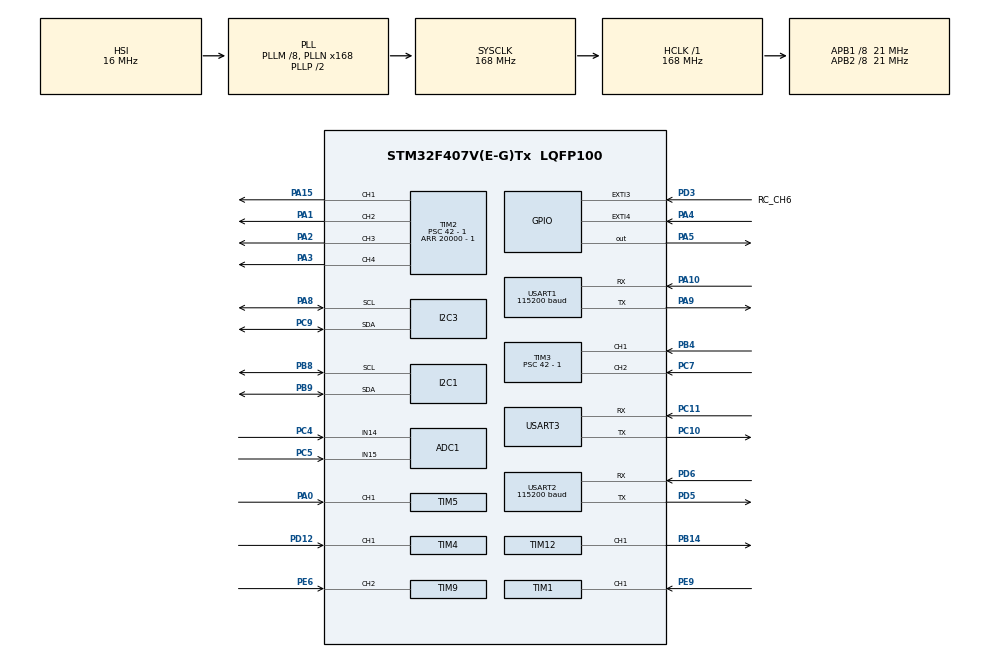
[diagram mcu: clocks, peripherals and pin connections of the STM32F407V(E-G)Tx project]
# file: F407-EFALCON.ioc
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ADC1.Channel-0\#ChannelRegularConversion=ADC_CHANNEL_14
ADC1.Channel-1\#ChannelRegularConversion=ADC_CHANNEL_15
ADC1.ClockPrescaler=ADC_CLOCK_SYNC_PCLK_DIV8
ADC1.ContinuousConvMode=ENABLE
ADC1.DMAContinuousRequests=ENABLE
ADC1.EOCSelection=ADC_EOC_SEQ_CONV
ADC1.NbrOfConversion=2
ADC1.NbrOfConversionFlag=1
ADC1.Rank-0\#ChannelRegularConversion=1
ADC1.Rank-1\#ChannelRegularConversion=2
ADC1.SamplingTime-0\#ChannelRegularConversion=ADC_SAMPLETIME_480CYCLES
ADC1.SamplingTime-1\#ChannelRegularConversion=ADC_SAMPLETIME_480CYCLES
ADC1.master=1
Dma.ADC1.3.Direction=DMA_PERIPH_TO_MEMORY
Dma.ADC1.3.FIFOMode=DMA_FIFOMODE_DISABLE
Dma.ADC1.3.Instance=DMA2_Stream4
Dma.ADC1.3.MemDataAlignment=DMA_MDATAALIGN_HALFWORD
Dma.ADC1.3.MemInc=DMA_MINC_ENABLE
Dma.ADC1.3.Mode=DMA_CIRCULAR
Dma.ADC1.3.PeriphDataAlignment=DMA_PDATAALIGN_HALFWORD
Dma.ADC1.3.PeriphInc=DMA_PINC_DISABLE
Dma.ADC1.3.Priority=DMA_PRIORITY_LOW
Dma.Request0=USART2_RX
Dma.Request1=USART3_RX
Dma.Request2=USART1_RX
Dma.Request3=ADC1
Dma.USART1_RX.2.Direction=DMA_PERIPH_TO_MEMORY
Dma.USART1_RX.2.FIFOMode=DMA_FIFOMODE_DISABLE
Dma.USART1_RX.2.Instance=DMA2_Stream2
Dma.USART1_RX.2.MemDataAlignment=DMA_MDATAALIGN_BYTE
Dma.USART1_RX.2.MemInc=DMA_MINC_ENABLE
Dma.USART1_RX.2.Mode=DMA_CIRCULAR
Dma.USART1_RX.2.PeriphDataAlignment=DMA_PDATAALIGN_BYTE
Dma.USART1_RX.2.PeriphInc=DMA_PINC_DISABLE
Dma.USART1_RX.2.Priority=DMA_PRIORITY_HIGH
Dma.USART2_RX.0.Direction=DMA_PERIPH_TO_MEMORY
Dma.USART2_RX.0.FIFOMode=DMA_FIFOMODE_DISABLE
Dma.USART2_RX.0.Instance=DMA1_Stream5
Dma.USART2_RX.0.MemDataAlignment=DMA_MDATAALIGN_BYTE
Dma.USART2_RX.0.MemInc=DMA_MINC_ENABLE
Dma.USART2_RX.0.Mode=DMA_CIRCULAR
Dma.USART2_RX.0.PeriphDataAlignment=DMA_PDATAALIGN_BYTE
Dma.USART2_RX.0.PeriphInc=DMA_PINC_DISABLE
Dma.USART2_RX.0.Priority=DMA_PRIORITY_HIGH
Dma.USART3_RX.1.Direction=DMA_PERIPH_TO_MEMORY
Dma.USART3_RX.1.FIFOMode=DMA_FIFOMODE_DISABLE
Dma.USART3_RX.1.Instance=DMA1_Stream1
Dma.USART3_RX.1.MemDataAlignment=DMA_MDATAALIGN_BYTE
Dma.USART3_RX.1.MemInc=DMA_MINC_ENABLE
Dma.USART3_RX.1.Mode=DMA_CIRCULAR
Dma.USART3_RX.1.PeriphDataAlignment=DMA_PDATAALIGN_BYTE
Dma.USART3_RX.1.PeriphInc=DMA_PINC_DISABLE
Dma.USART3_RX.1.Priority=DMA_PRIORITY_HIGH
Mcu.Family=STM32F4
Mcu.Name=STM32F407V(E-G)Tx
Mcu.Package=LQFP100
NVIC.DMA1_Stream1_IRQn=true\:0\:0\:false\:false\:true\:false\:true
NVIC.DMA1_Stream5_IRQn=true\:0\:0\:false\:false\:true\:false\:true
NVIC.DMA2_Stream2_IRQn=true\:0\:0\:false\:false\:true\:false\:true
NVIC.DMA2_Stream4_IRQn=true\:0\:0\:false\:false\:true\:false\:true
NVIC.EXTI3_IRQn=true\:0\:0\:false\:false\:true\:true\:true
NVIC.PriorityGroup=NVIC_PRIORITYGROUP_4
NVIC.TIM1_BRK_TIM9_IRQn=true\:0\:0\:false\:false\:true\:true\:true
NVIC.TIM1_CC_IRQn=true\:0\:0\:false\:false\:true\:true\:true
NVIC.TIM1_UP_TIM10_IRQn=true\:2\:0\:true\:false\:true\:true\:true
NVIC.TIM2_IRQn=true\:0\:0\:false\:false\:true\:true\:true
NVIC.TIM3_IRQn=true\:0\:0\:false\:false\:true\:true\:true
NVIC.TIM4_IRQn=true\:0\:0\:false\:false\:true\:true\:true
NVIC.TIM5_IRQn=true\:0\:0\:true\:false\:true\:true\:true
NVIC.TIM7_IRQn=true\:1\:0\:true\:false\:true\:true\:true
PA0-WKUP.GPIO_PuPd=GPIO_NOPULL
PA0-WKUP.Signal=S_TIM5_CH1
PA1.GPIO_PuPd=GPIO_NOPULL
PA1.Signal=S_TIM2_CH2
PA10.GPIO_PuPd=GPIO_PULLUP
PA10.Mode=Asynchronous
PA10.Signal=USART1_RX
PA13.Mode=Serial_Wire
PA13.Signal=SYS_JTMS-SWDIO
PA14.Mode=Serial_Wire
PA14.Signal=SYS_JTCK-SWCLK
PA15.GPIO_PuPd=GPIO_NOPULL
PA15.Signal=S_TIM2_CH1_ETR
PA2.GPIO_PuPd=GPIO_NOPULL
PA2.Signal=S_TIM2_CH3
PA3.GPIO_PuPd=GPIO_NOPULL
PA3.Signal=S_TIM2_CH4
PA4.Signal=GPXTI4
PA5.Signal=GPIO_Output
PA8.Mode=I2C
PA8.Signal=I2C3_SCL
PA9.Mode=Asynchronous
PA9.Signal=USART1_TX
PB14.Signal=S_TIM12_CH1
PB4.GPIO_PuPd=GPIO_NOPULL
PB4.Signal=S_TIM3_CH1
PB8.Mode=I2C
PB8.Signal=I2C1_SCL
PB9.Mode=I2C
PB9.Signal=I2C1_SDA
PC10.Mode=Asynchronous
PC10.Signal=USART3_TX
PC11.Mode=Asynchronous
PC11.Signal=USART3_RX
PC4.Signal=ADCx_IN14
PC5.Signal=ADCx_IN15
PC7.GPIO_PuPd=GPIO_NOPULL
PC7.Signal=S_TIM3_CH2
PC9.Mode=I2C
PC9.Signal=I2C3_SDA
PD12.GPIO_PuPd=GPIO_NOPULL
PD12.Signal=S_TIM4_CH1
PD3.GPIO_Label=RC_CH6
PD3.GPIO_ModeDefaultEXTI=GPIO_MODE_IT_RISING_FALLING
PD3.GPIO_PuPd=GPIO_PULLDOWN
PD3.Signal=GPXTI3
PD5.Mode=Asynchronous
PD5.Signal=USART2_TX
PD6.GPIO_PuPd=GPIO_PULLUP
PD6.Mode=Asynchronous
PD6.Signal=USART2_RX
PE6.GPIO_PuPd=GPIO_NOPULL
PE6.Signal=S_TIM9_CH2
PE9.Signal=S_TIM1_CH1
PH0-OSC_IN.Mode=HSE-External-Oscillator
PH0-OSC_IN.Signal=RCC_OSC_IN
PH1-OSC_OUT.Mode=HSE-External-Oscillator
PH1-OSC_OUT.Signal=RCC_OSC_OUT
ProjectManager.HeapSize=0x200
ProjectManager.StackSize=0x400
ProjectManager.TargetToolchain=STM32CubeIDE
RCC.48MHZClocksFreq_Value=84000000
RCC.AHBFreq_Value=168000000
RCC.APB1CLKDivider=RCC_HCLK_DIV8
RCC.APB1Freq_Value=21000000
RCC.APB1TimFreq_Value=42000000
RCC.APB2CLKDivider=RCC_HCLK_DIV8
RCC.APB2Freq_Value=21000000
RCC.APB2TimFreq_Value=42000000
RCC.CortexFreq_Value=168000000
RCC.HCLKFreq_Value=168000000
RCC.HSE_VALUE=16000000
RCC.HSI_VALUE=16000000
RCC.LSE_VALUE=32768
RCC.PLLM=8
RCC.PLLN=168
RCC.SYSCLKFreq_VALUE=168000000
RCC.SYSCLKSource=RCC_SYSCLKSOURCE_PLLCLK
RCC.VCOOutputFreq_Value=336000000
SH.ADCx_IN14.0=ADC1_IN14,IN14
SH.ADCx_IN15.0=ADC1_IN15,IN15
SH.S_TIM12_CH1.0=TIM12_CH1,PWM Generation1 CH1
SH.S_TIM1_CH1.0=TIM1_CH1,Input_Capture1_from_TI1
SH.S_TIM2_CH1_ETR.0=TIM2_CH1,PWM Generation1 CH1
SH.S_TIM2_CH2.0=TIM2_CH2,PWM Generation2 CH2
SH.S_TIM2_CH3.0=TIM2_CH3,PWM Generation3 CH3
SH.S_TIM2_CH4.0=TIM2_CH4,PWM Generation4 CH4
SH.S_TIM3_CH1.0=TIM3_CH1,Input_Capture1_from_TI1
SH.S_TIM3_CH2.0=TIM3_CH2,Input_Capture2_from_TI2
SH.S_TIM4_CH1.0=TIM4_CH1,Input_Capture1_from_TI1
SH.S_TIM5_CH1.0=TIM5_CH1,Input_Capture1_from_TI1
SH.S_TIM9_CH2.0=TIM9_CH2,Input_Capture2_from_TI2
TIM1.Channel-Input_Capture1_from_TI1=TIM_CHANNEL_1
TIM1.Period=0xffff
TIM1.Prescaler=42 - 1
TIM10.Period=15 - 1
TIM10.Prescaler=42000 - 1
TIM12.Channel-PWM\ Generation1\ CH1=TIM_CHANNEL_1
TIM12.Period=1000-1
TIM12.Prescaler=42-1
TIM12.Pulse-PWM\ Generation1\ CH1=7000
TIM2.Channel-PWM\ Generation1\ CH1=TIM_CHANNEL_1
TIM2.Channel-PWM\ Generation2\ CH2=TIM_CHANNEL_2
TIM2.Channel-PWM\ Generation3\ CH3=TIM_CHANNEL_3
TIM2.Channel-PWM\ Generation4\ CH4=TIM_CHANNEL_4
TIM2.Period=20000 - 1
TIM2.Prescaler=42 - 1
TIM2.Pulse-PWM\ Generation1\ CH1=2000 - 1
TIM2.Pulse-PWM\ Generation2\ CH2=2000 - 1
TIM2.Pulse-PWM\ Generation4\ CH4=2000 - 1
TIM3.AutoReloadPreload=TIM_AUTORELOAD_PRELOAD_DISABLE
TIM3.Channel-Input_Capture1_from_TI1=TIM_CHANNEL_1
TIM3.Channel-Input_Capture2_from_TI2=TIM_CHANNEL_2
TIM3.Period=0xFFFF
TIM3.Prescaler=42 - 1
TIM4.Channel-Input_Capture1_from_TI1=TIM_CHANNEL_1
TIM4.Period=0xFFFF
TIM4.Prescaler=42 - 1
TIM5.Channel-Input_Capture1_from_TI1=TIM_CHANNEL_1
TIM5.Period=0xFFFF
TIM5.Prescaler=42 - 1
TIM6.Period=0xFFFF
TIM6.Prescaler=42 - 1
TIM7.Period=10
TIM7.Prescaler=42000 - 1
TIM9.Channel-Input_Capture2_from_TI2=TIM_CHANNEL_2
TIM9.Period=0xFFFF
TIM9.Prescaler=42 - 1
USART1.BaudRate=115200
USART1.VirtualMode=VM_ASYNC
USART2.BaudRate=115200
USART2.VirtualMode=VM_ASYNC
USART3.VirtualMode=VM_ASYNC
VP_TIM10_VS_ClockSourceINT.Mode=Enable_Timer
VP_TIM2_VS_ClockSourceINT.Mode=Internal
VP_TIM3_VS_ClockSourceINT.Mode=Internal
VP_TIM4_VS_ClockSourceINT.Mode=Internal
VP_TIM5_VS_ClockSourceINT.Mode=Internal
VP_TIM6_VS_ClockSourceINT.Mode=Enable_Timer
VP_TIM7_VS_ClockSourceINT.Mode=Enable_Timer
VP_TIM9_VS_ClockSourceINT.Mode=Internal
board=custom

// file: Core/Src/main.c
/* USER CODE BEGIN Header */
/**
  ******************************************************************************
  * @file           : main.c
  * @brief          : Main program body
  ******************************************************************************
  * @attention
  *
  * <h2><center>&copy; Copyright (c) 2020 STMicroelectronics.
  * All rights reserved.</center></h2>
  *
  * This software component is licensed by ST under BSD 3-Clause license,
  * the "License"; You may not use this file except in compliance with the
  * License. You may obtain a copy of the License at:
  *                        opensource.org/licenses/BSD-3-Clause
  *
  ******************************************************************************
  */
/* USER CODE END Header */
#include "main.h"

/* USER CODE BEGIN Includes */
#include <string.h>
#include <stdio.h>
#include <stdlib.h>
#include <stdbool.h>

#include "bmp280.h"
#include "Kalman.h"
#include "HMC5883L.h"
#include "pid.h"
#include "I2Cdev.h"
/* USER CODE END Includes */

/* USER CODE BEGIN PD */
#define ESC_PWM_MIN 1000
#define ESC_PWM_MAX 2000
/* USER CODE END PD */

ADC_HandleTypeDef hadc1;
DMA_HandleTypeDef hdma_adc1;

I2C_HandleTypeDef hi2c1;
I2C_HandleTypeDef hi2c3;

TIM_HandleTypeDef htim1;
TIM_HandleTypeDef htim2;
TIM_HandleTypeDef htim3;
TIM_HandleTypeDef htim4;
TIM_HandleTypeDef htim5;
TIM_HandleTypeDef htim6;
TIM_HandleTypeDef htim7;
TIM_HandleTypeDef htim9;
TIM_HandleTypeDef htim10;
TIM_HandleTypeDef htim12;

UART_HandleTypeDef huart1;
UART_HandleTypeDef huart2;
UART_HandleTypeDef huart3;
DMA_HandleTypeDef hdma_usart1_rx;
DMA_HandleTypeDef hdma_usart2_rx;
DMA_HandleTypeDef hdma_usart3_rx;

/* USER CODE BEGIN PV */
/*---bmp280----*/
BMP280_HandleTypedef bmp280;
uint8_t buffer[200];
uint16_t strSize;
uint8_t IMUBuffer[16];
bool GPSDataStatus;
bool IMUDataStatus;
int dutyCycle = ESC_PWM_MIN;
float pressureRef = 0;
bool bme280p;
bool RisingEdge = 1, FallingEdge = 0;
int16_t x_heading, y_heading, z_heading;
Floating altitude, data_heading;
char latitude[20];
char longitude[20];
Floating baterai_v, baterai_i;
uint16_t batteryData[2];
Integer lon_depan;
Floating lon_belakang, lat_belakang;
char lat_depan;
uint8_t gpsCounter = 0;
uint8_t gps_rx_buf[GPS_BUF_SIZE];
uint8_t GPSBuffer[GPS_BUF_SIZE];

uint32_t w_output[4];
uint8_t SerialData[10];
Kalman_t kalman_altitude;

char lat[20];
char lat_a;
char lon[20];
char lon_a;

PWM_DATA RC_CH1, RC_CH2, RC_CH3, RC_CH4, RC_CH5, RC_CH6;

IMU_DATA IMU_Data;
float pitchRef = 0, yawRef = 0, rollRef = 0;
FLY_MODE fly_mode;

/* USER CODE END PV */

void SystemClock_Config(void);
static void MX_GPIO_Init(void);
static void MX_DMA_Init(void);
static void MX_I2C1_Init(void);
static void MX_USART1_UART_Init(void);
static void MX_USART3_UART_Init(void);
static void MX_USART2_UART_Init(void);
static void MX_TIM3_Init(void);
static void MX_I2C3_Init(void);
static void MX_TIM2_Init(void);
static void MX_TIM4_Init(void);
static void MX_TIM5_Init(void);
static void MX_TIM9_Init(void);
static void MX_TIM7_Init(void);
static void MX_TIM6_Init(void);
static void MX_TIM10_Init(void);
static void MX_TIM1_Init(void);
static void MX_ADC1_Init(void);
static void MX_TIM12_Init(void);
/* USER CODE BEGIN PFP */

void ESCInit();
void initmonitorBAT();
void setPWM(TIM_HandleTypeDef htim, uint32_t channel, uint32_t dutyCycle);
void BMPInit();
void IMUInit();
void GPSInit();
void RemoteInit();
void CompassInit();
void setPWM_DATA(PWM_DATA* pwm_data);
void initPWM_DATA(PWM_DATA* pwm_data, TIM_HandleTypeDef *htim, uint32_t channel);
void getIMUData(IMU_DATA *IMU_Data);
void getGPSLatLon();
void getCompass();
void getBMPAltitude();
/* USER CODE END PFP */

int main(void)
{

  /* MCU Configuration--------------------------------------------------------*/

  /* Reset of all peripherals, Initializes the Flash interface and the Systick. */
  HAL_Init();

  /* Configure the system clock */
  SystemClock_Config();

  /* Initialize all configured peripherals */
  MX_GPIO_Init();
  MX_DMA_Init();
  MX_I2C1_Init();
  MX_USART1_UART_Init();
  MX_USART3_UART_Init();
  MX_USART2_UART_Init();
  MX_TIM3_Init();
  MX_I2C3_Init();
  MX_TIM2_Init();
  MX_TIM4_Init();
  MX_TIM5_Init();
  MX_TIM9_Init();
  MX_TIM7_Init();
  MX_TIM6_Init();
  MX_TIM10_Init();
  MX_TIM1_Init();
  MX_ADC1_Init();
  MX_TIM12_Init();
  /* USER CODE BEGIN 2 */

  /*PIDControl(&PIDRoll, (float)IMU_Data->ROLL, RC_CH2.DutyCycleVal);
  PIDControl(&PIDPitch, (float)IMU_Data->PITCH, RC_CH1.DutyCycleVal);
  PIDControl(&PIDYaw, (float)IMU_Data->YAW, RC_CH4.DutyCycleVal);*/

  //init sensor
  CompassInit();
  BMPInit();
  GPSInit();
  IMUInit();
  initmonitorBAT();

  //Remote init
  RemoteInit();

  //Inisialisasi PID
  //ROLL
  //PIDInit(&PIDRoll, 0.0300, 0.0080, 0.0065, 0.01);//d=0.01 p=0.045 i = 0.4
  //PIDInit(&PIDRoll, 0.0238, 0.0240, 0.0045, 0.01);
  PIDInit(&PIDRoll, 0.01875, 0.00120, 0.00825, 0.01);
  //PITCH
  //PIDInit(&PIDPitch,  0.0156, 0.0100, 0.0056, 0.01); //kp = 1, kd = 1, ki = 0.0040, timesampling = 0.04
  PIDInit(&PIDPitch,  0.026555, 0.01995, 0.00555, 0.01);
  //YAW
  //PIDInit(&PIDYaw, 0.125f, 0.0f, 0.000f, 0.01); //kp = 1, kd = 1, ki = 1, timesampling = 0.04
  PIDInit(&PIDYaw, 0.080, 0.0020, 0.0f, 0.01);
  //Altitude
  PIDInit(&PIDAltitude, 0.09, 0.085, 0.00583, 0.01);
  ESCInit();

  HAL_TIM_Base_Start_IT(&htim10);

  HAL_UART_Receive_DMA(&huart1, SerialData, 10);

  strSize = sprintf((char*)buffer, "Mulai\r\n");
  HAL_UART_Transmit(&huart1, buffer, strSize, 10);
  /* USER CODE END 2 */

  /* Infinite loop */
  /* USER CODE BEGIN WHILE */
  while (1) {
	  if(inputFlyMode >= 1000 && inputFlyMode <= 1050 && fly_mode != FLY_MODE_OFF){
		  HAL_TIM_Base_Stop_IT(&htim7);
		  fly_mode = FLY_MODE_OFF;
		  PIDReset(&PIDRoll);
		  PIDReset(&PIDPitch);
		  PIDReset(&PIDYaw);
		  pulseESC1 = pulseESC2 = pulseESC3 = pulseESC4 = 1000;
		  char a = 0x00;
		  strSize = sprintf((char*)buffer, "M%c#", a);
		  HAL_UART_Transmit(&huart1, buffer, strSize, 10);
	  } else if(inputFlyMode >= 1450 && inputFlyMode <= 1550 && fly_mode != FLY_MODE_ON){
		  fly_mode = FLY_MODE_ON;
		  char b = 0x08;
		  strSize = sprintf((char*)buffer, "M%c#", b);
		  HAL_UART_Transmit(&huart1, buffer, strSize, 10);
		  HAL_TIM_Base_Start_IT(&htim7);
	  } else if(inputFlyMode >= 1900 && inputFlyMode <= 2000 && fly_mode != FLY_MODE_HOLD){
		  fly_mode = FLY_MODE_HOLD;
		  inputAltitude = sensorAltitude.data;
		  holdThrottle = inputThrottle;
		  char c = 0x80;
		  strSize = sprintf((char*)buffer, "M%c#", c);
		  HAL_UART_Transmit(&huart1, buffer, strSize, 10);
	  }
	  getIMUData(&IMU_Data);
    /* USER CODE END WHILE */

  }
}

void SystemClock_Config(void)
{
  RCC_OscInitTypeDef RCC_OscInitStruct = {0};
  RCC_ClkInitTypeDef RCC_ClkInitStruct = {0};

  /** Configure the main internal regulator output voltage
  */
  __HAL_RCC_PWR_CLK_ENABLE();
  __HAL_PWR_VOLTAGESCALING_CONFIG(PWR_REGULATOR_VOLTAGE_SCALE1);
  /** Initializes the RCC Oscillators according to the specified parameters
  * in the RCC_OscInitTypeDef structure.
  */
  RCC_OscInitStruct.OscillatorType = RCC_OSCILLATORTYPE_HSI;
  RCC_OscInitStruct.HSIState = RCC_HSI_ON;
  RCC_OscInitStruct.HSICalibrationValue = RCC_HSICALIBRATION_DEFAULT;
  RCC_OscInitStruct.PLL.PLLState = RCC_PLL_ON;
  RCC_OscInitStruct.PLL.PLLSource = RCC_PLLSOURCE_HSI;
  RCC_OscInitStruct.PLL.PLLM = 8;
  RCC_OscInitStruct.PLL.PLLN = 168;
  RCC_OscInitStruct.PLL.PLLP = RCC_PLLP_DIV2;
  RCC_OscInitStruct.PLL.PLLQ = 4;
  if (HAL_RCC_OscConfig(&RCC_OscInitStruct) != HAL_OK)
  {
    Error_Handler();
  }
  /** Initializes the CPU, AHB and APB buses clocks
  */
  RCC_ClkInitStruct.ClockType = RCC_CLOCKTYPE_HCLK|RCC_CLOCKTYPE_SYSCLK
                              |RCC_CLOCKTYPE_PCLK1|RCC_CLOCKTYPE_PCLK2;
  RCC_ClkInitStruct.SYSCLKSource = RCC_SYSCLKSOURCE_PLLCLK;
  RCC_ClkInitStruct.AHBCLKDivider = RCC_SYSCLK_DIV1;
  RCC_ClkInitStruct.APB1CLKDivider = RCC_HCLK_DIV8;
  RCC_ClkInitStruct.APB2CLKDivider = RCC_HCLK_DIV8;

  if (HAL_RCC_ClockConfig(&RCC_ClkInitStruct, FLASH_LATENCY_5) != HAL_OK)
  {
    Error_Handler();
  }
}

static void MX_ADC1_Init(void)
{

  ADC_ChannelConfTypeDef sConfig = {0};

  /** Configure the global features of the ADC (Clock, Resolution, Data Alignment and number of conversion)
  */
  hadc1.Instance = ADC1;
  hadc1.Init.ClockPrescaler = ADC_CLOCK_SYNC_PCLK_DIV8;
  hadc1.Init.Resolution = ADC_RESOLUTION_12B;
  hadc1.Init.ScanConvMode = ENABLE;
  hadc1.Init.ContinuousConvMode = ENABLE;
  hadc1.Init.DiscontinuousConvMode = DISABLE;
  hadc1.Init.ExternalTrigConvEdge = ADC_EXTERNALTRIGCONVEDGE_NONE;
  hadc1.Init.ExternalTrigConv = ADC_SOFTWARE_START;
  hadc1.Init.DataAlign = ADC_DATAALIGN_RIGHT;
  hadc1.Init.NbrOfConversion = 2;
  hadc1.Init.DMAContinuousRequests = ENABLE;
  hadc1.Init.EOCSelection = ADC_EOC_SEQ_CONV;
  if (HAL_ADC_Init(&hadc1) != HAL_OK)
  {
    Error_Handler();
  }
  /** Configure for the selected ADC regular channel its corresponding rank in the sequencer and its sample time.
  */
  sConfig.Channel = ADC_CHANNEL_14;
  sConfig.Rank = 1;
  sConfig.SamplingTime = ADC_SAMPLETIME_480CYCLES;
  if (HAL_ADC_ConfigChannel(&hadc1, &sConfig) != HAL_OK)
  {
    Error_Handler();
  }
  /** Configure for the selected ADC regular channel its corresponding rank in the sequencer and its sample time.
  */
  sConfig.Channel = ADC_CHANNEL_15;
  sConfig.Rank = 2;
  if (HAL_ADC_ConfigChannel(&hadc1, &sConfig) != HAL_OK)
  {
    Error_Handler();
  }

}

static void MX_I2C1_Init(void)
{

  hi2c1.Instance = I2C1;
  hi2c1.Init.ClockSpeed = 100000;
  hi2c1.Init.DutyCycle = I2C_DUTYCYCLE_2;
  hi2c1.Init.OwnAddress1 = 0;
  hi2c1.Init.AddressingMode = I2C_ADDRESSINGMODE_7BIT;
  hi2c1.Init.DualAddressMode = I2C_DUALADDRESS_DISABLE;
  hi2c1.Init.OwnAddress2 = 0;
  hi2c1.Init.GeneralCallMode = I2C_GENERALCALL_DISABLE;
  hi2c1.Init.NoStretchMode = I2C_NOSTRETCH_DISABLE;
  if (HAL_I2C_Init(&hi2c1) != HAL_OK)
  {
    Error_Handler();
  }

}

static void MX_I2C3_Init(void)
{

  hi2c3.Instance = I2C3;
  hi2c3.Init.ClockSpeed = 100000;
  hi2c3.Init.DutyCycle = I2C_DUTYCYCLE_2;
  hi2c3.Init.OwnAddress1 = 0;
  hi2c3.Init.AddressingMode = I2C_ADDRESSINGMODE_7BIT;
  hi2c3.Init.DualAddressMode = I2C_DUALADDRESS_DISABLE;
  hi2c3.Init.OwnAddress2 = 0;
  hi2c3.Init.GeneralCallMode = I2C_GENERALCALL_DISABLE;
  hi2c3.Init.NoStretchMode = I2C_NOSTRETCH_DISABLE;
  if (HAL_I2C_Init(&hi2c3) != HAL_OK)
  {
    Error_Handler();
  }

}

static void MX_TIM1_Init(void)
{

  TIM_MasterConfigTypeDef sMasterConfig = {0};
  TIM_IC_InitTypeDef sConfigIC = {0};

  htim1.Instance = TIM1;
  htim1.Init.Prescaler = 42 - 1;
  htim1.Init.CounterMode = TIM_COUNTERMODE_UP;
  htim1.Init.Period = 0xffff;
  htim1.Init.ClockDivision = TIM_CLOCKDIVISION_DIV1;
  htim1.Init.RepetitionCounter = 0;
  htim1.Init.AutoReloadPreload = TIM_AUTORELOAD_PRELOAD_DISABLE;
  if (HAL_TIM_IC_Init(&htim1) != HAL_OK)
  {
    Error_Handler();
  }
  sMasterConfig.MasterOutputTrigger = TIM_TRGO_RESET;
  sMasterConfig.MasterSlaveMode = TIM_MASTERSLAVEMODE_DISABLE;
  if (HAL_TIMEx_MasterConfigSynchronization(&htim1, &sMasterConfig) != HAL_OK)
  {
    Error_Handler();
  }
  sConfigIC.ICPolarity = TIM_INPUTCHANNELPOLARITY_RISING;
  sConfigIC.ICSelection = TIM_ICSELECTION_DIRECTTI;
  sConfigIC.ICPrescaler = TIM_ICPSC_DIV1;
  sConfigIC.ICFilter = 0;
  if (HAL_TIM_IC_ConfigChannel(&htim1, &sConfigIC, TIM_CHANNEL_1) != HAL_OK)
  {
    Error_Handler();
  }

}

static void MX_TIM2_Init(void)
{

  TIM_ClockConfigTypeDef sClockSourceConfig = {0};
  TIM_MasterConfigTypeDef sMasterConfig = {0};
  TIM_OC_InitTypeDef sConfigOC = {0};

  htim2.Instance = TIM2;
  htim2.Init.Prescaler = 42 - 1;
  htim2.Init.CounterMode = TIM_COUNTERMODE_UP;
  htim2.Init.Period = 20000 - 1;
  htim2.Init.ClockDivision = TIM_CLOCKDIVISION_DIV1;
  htim2.Init.AutoReloadPreload = TIM_AUTORELOAD_PRELOAD_DISABLE;
  if (HAL_TIM_Base_Init(&htim2) != HAL_OK)
  {
    Error_Handler();
  }
  sClockSourceConfig.ClockSource = TIM_CLOCKSOURCE_INTERNAL;
  if (HAL_TIM_ConfigClockSource(&htim2, &sClockSourceConfig) != HAL_OK)
  {
    Error_Handler();
  }
  if (HAL_TIM_PWM_Init(&htim2) != HAL_OK)
  {
    Error_Handler();
  }
  sMasterConfig.MasterOutputTrigger = TIM_TRGO_RESET;
  sMasterConfig.MasterSlaveMode = TIM_MASTERSLAVEMODE_DISABLE;
  if (HAL_TIMEx_MasterConfigSynchronization(&htim2, &sMasterConfig) != HAL_OK)
  {
    Error_Handler();
  }
  sConfigOC.OCMode = TIM_OCMODE_PWM1;
  sConfigOC.Pulse = 2000 - 1;
  sConfigOC.OCPolarity = TIM_OCPOLARITY_HIGH;
  sConfigOC.OCFastMode = TIM_OCFAST_DISABLE;
  if (HAL_TIM_PWM_ConfigChannel(&htim2, &sConfigOC, TIM_CHANNEL_1) != HAL_OK)
  {
    Error_Handler();
  }
  if (HAL_TIM_PWM_ConfigChannel(&htim2, &sConfigOC, TIM_CHANNEL_2) != HAL_OK)
  {
    Error_Handler();
  }
  sConfigOC.Pulse = 0;
  if (HAL_TIM_PWM_ConfigChannel(&htim2, &sConfigOC, TIM_CHANNEL_3) != HAL_OK)
  {
    Error_Handler();
  }
  sConfigOC.Pulse = 2000 - 1;
  if (HAL_TIM_PWM_ConfigChannel(&htim2, &sConfigOC, TIM_CHANNEL_4) != HAL_OK)
  {
    Error_Handler();
  }
  HAL_TIM_MspPostInit(&htim2);

}

static void MX_TIM3_Init(void)
{

  TIM_ClockConfigTypeDef sClockSourceConfig = {0};
  TIM_MasterConfigTypeDef sMasterConfig = {0};
  TIM_IC_InitTypeDef sConfigIC = {0};

  htim3.Instance = TIM3;
  htim3.Init.Prescaler = 42 - 1;
  htim3.Init.CounterMode = TIM_COUNTERMODE_UP;
  htim3.Init.Period = 0xFFFF;
  htim3.Init.ClockDivision = TIM_CLOCKDIVISION_DIV1;
  htim3.Init.AutoReloadPreload = TIM_AUTORELOAD_PRELOAD_DISABLE;
  if (HAL_TIM_Base_Init(&htim3) != HAL_OK)
  {
    Error_Handler();
  }
  sClockSourceConfig.ClockSource = TIM_CLOCKSOURCE_INTERNAL;
  if (HAL_TIM_ConfigClockSource(&htim3, &sClockSourceConfig) != HAL_OK)
  {
    Error_Handler();
  }
  if (HAL_TIM_IC_Init(&htim3) != HAL_OK)
  {
    Error_Handler();
  }
  sMasterConfig.MasterOutputTrigger = TIM_TRGO_RESET;
  sMasterConfig.MasterSlaveMode = TIM_MASTERSLAVEMODE_DISABLE;
  if (HAL_TIMEx_MasterConfigSynchronization(&htim3, &sMasterConfig) != HAL_OK)
  {
    Error_Handler();
  }
  sConfigIC.ICPolarity = TIM_INPUTCHANNELPOLARITY_RISING;
  sConfigIC.ICSelection = TIM_ICSELECTION_DIRECTTI;
  sConfigIC.ICPrescaler = TIM_ICPSC_DIV1;
  sConfigIC.ICFilter = 0;
  if (HAL_TIM_IC_ConfigChannel(&htim3, &sConfigIC, TIM_CHANNEL_1) != HAL_OK)
  {
    Error_Handler();
  }
  if (HAL_TIM_IC_ConfigChannel(&htim3, &sConfigIC, TIM_CHANNEL_2) != HAL_OK)
  {
    Error_Handler();
  }

}

static void MX_TIM4_Init(void)
{

  TIM_ClockConfigTypeDef sClockSourceConfig = {0};
  TIM_MasterConfigTypeDef sMasterConfig = {0};
  TIM_IC_InitTypeDef sConfigIC = {0};

  htim4.Instance = TIM4;
  htim4.Init.Prescaler = 42 - 1;
  htim4.Init.CounterMode = TIM_COUNTERMODE_UP;
  htim4.Init.Period = 0xFFFF;
  htim4.Init.ClockDivision = TIM_CLOCKDIVISION_DIV1;
  htim4.Init.AutoReloadPreload = TIM_AUTORELOAD_PRELOAD_DISABLE;
  if (HAL_TIM_Base_Init(&htim4) != HAL_OK)
  {
    Error_Handler();
  }
  sClockSourceConfig.ClockSource = TIM_CLOCKSOURCE_INTERNAL;
  if (HAL_TIM_ConfigClockSource(&htim4, &sClockSourceConfig) != HAL_OK)
  {
    Error_Handler();
  }
  if (HAL_TIM_IC_Init(&htim4) != HAL_OK)
  {
    Error_Handler();
  }
  sMasterConfig.MasterOutputTrigger = TIM_TRGO_RESET;
  sMasterConfig.MasterSlaveMode = TIM_MASTERSLAVEMODE_DISABLE;
  if (HAL_TIMEx_MasterConfigSynchronization(&htim4, &sMasterConfig) != HAL_OK)
  {
    Error_Handler();
  }
  sConfigIC.ICPolarity = TIM_INPUTCHANNELPOLARITY_RISING;
  sConfigIC.ICSelection = TIM_ICSELECTION_DIRECTTI;
  sConfigIC.ICPrescaler = TIM_ICPSC_DIV1;
  sConfigIC.ICFilter = 0;
  if (HAL_TIM_IC_ConfigChannel(&htim4, &sConfigIC, TIM_CHANNEL_1) != HAL_OK)
  {
    Error_Handler();
  }

}

static void MX_TIM5_Init(void)
{

  TIM_ClockConfigTypeDef sClockSourceConfig = {0};
  TIM_MasterConfigTypeDef sMasterConfig = {0};
  TIM_IC_InitTypeDef sConfigIC = {0};

  htim5.Instance = TIM5;
  htim5.Init.Prescaler = 42 - 1;
  htim5.Init.CounterMode = TIM_COUNTERMODE_UP;
  htim5.Init.Period = 0xFFFF;
  htim5.Init.ClockDivision = TIM_CLOCKDIVISION_DIV1;
  htim5.Init.AutoReloadPreload = TIM_AUTORELOAD_PRELOAD_DISABLE;
  if (HAL_TIM_Base_Init(&htim5) != HAL_OK)
  {
    Error_Handler();
  }
  sClockSourceConfig.ClockSource = TIM_CLOCKSOURCE_INTERNAL;
  if (HAL_TIM_ConfigClockSource(&htim5, &sClockSourceConfig) != HAL_OK)
  {
    Error_Handler();
  }
  if (HAL_TIM_IC_Init(&htim5) != HAL_OK)
  {
    Error_Handler();
  }
  sMasterConfig.MasterOutputTrigger = TIM_TRGO_RESET;
  sMasterConfig.MasterSlaveMode = TIM_MASTERSLAVEMODE_DISABLE;
  if (HAL_TIMEx_MasterConfigSynchronization(&htim5, &sMasterConfig) != HAL_OK)
  {
    Error_Handler();
  }
  sConfigIC.ICPolarity = TIM_INPUTCHANNELPOLARITY_RISING;
  sConfigIC.ICSelection = TIM_ICSELECTION_DIRECTTI;
  sConfigIC.ICPrescaler = TIM_ICPSC_DIV1;
  sConfigIC.ICFilter = 0;
  if (HAL_TIM_IC_ConfigChannel(&htim5, &sConfigIC, TIM_CHANNEL_1) != HAL_OK)
  {
    Error_Handler();
  }

}

static void MX_TIM6_Init(void)
{

  TIM_MasterConfigTypeDef sMasterConfig = {0};

  htim6.Instance = TIM6;
  htim6.Init.Prescaler = 42 - 1;
  htim6.Init.CounterMode = TIM_COUNTERMODE_UP;
  htim6.Init.Period = 0xFFFF;
  htim6.Init.AutoReloadPreload = TIM_AUTORELOAD_PRELOAD_DISABLE;
  if (HAL_TIM_Base_Init(&htim6) != HAL_OK)
  {
    Error_Handler();
  }
  sMasterConfig.MasterOutputTrigger = TIM_TRGO_RESET;
  sMasterConfig.MasterSlaveMode = TIM_MASTERSLAVEMODE_DISABLE;
  if (HAL_TIMEx_MasterConfigSynchronization(&htim6, &sMasterConfig) != HAL_OK)
  {
    Error_Handler();
  }

}

static void MX_TIM7_Init(void)
{

  TIM_MasterConfigTypeDef sMasterConfig = {0};

  htim7.Instance = TIM7;
  htim7.Init.Prescaler = 42000 - 1;
  htim7.Init.CounterMode = TIM_COUNTERMODE_UP;
  htim7.Init.Period = 10;
  htim7.Init.AutoReloadPreload = TIM_AUTORELOAD_PRELOAD_DISABLE;
  if (HAL_TIM_Base_Init(&htim7) != HAL_OK)
  {
    Error_Handler();
  }
  sMasterConfig.MasterOutputTrigger = TIM_TRGO_RESET;
  sMasterConfig.MasterSlaveMode = TIM_MASTERSLAVEMODE_DISABLE;
  if (HAL_TIMEx_MasterConfigSynchronization(&htim7, &sMasterConfig) != HAL_OK)
  {
    Error_Handler();
  }

}

static void MX_TIM9_Init(void)
{

  TIM_ClockConfigTypeDef sClockSourceConfig = {0};
  TIM_IC_InitTypeDef sConfigIC = {0};

  htim9.Instance = TIM9;
  htim9.Init.Prescaler = 42 - 1;
  htim9.Init.CounterMode = TIM_COUNTERMODE_UP;
  htim9.Init.Period = 0xFFFF;
  htim9.Init.ClockDivision = TIM_CLOCKDIVISION_DIV1;
  htim9.Init.AutoReloadPreload = TIM_AUTORELOAD_PRELOAD_DISABLE;
  if (HAL_TIM_Base_Init(&htim9) != HAL_OK)
  {
    Error_Handler();
  }
  sClockSourceConfig.ClockSource = TIM_CLOCKSOURCE_INTERNAL;
  if (HAL_TIM_ConfigClockSource(&htim9, &sClockSourceConfig) != HAL_OK)
  {
    Error_Handler();
  }
  if (HAL_TIM_IC_Init(&htim9) != HAL_OK)
  {
    Error_Handler();
  }
  sConfigIC.ICPolarity = TIM_INPUTCHANNELPOLARITY_RISING;
  sConfigIC.ICSelection = TIM_ICSELECTION_DIRECTTI;
  sConfigIC.ICPrescaler = TIM_ICPSC_DIV1;
  sConfigIC.ICFilter = 0;
  if (HAL_TIM_IC_ConfigChannel(&htim9, &sConfigIC, TIM_CHANNEL_2) != HAL_OK)
  {
    Error_Handler();
  }

}

static void MX_TIM10_Init(void)
{

  htim10.Instance = TIM10;
  htim10.Init.Prescaler = 42000 - 1;
  htim10.Init.CounterMode = TIM_COUNTERMODE_UP;
  htim10.Init.Period = 15 - 1;
  htim10.Init.ClockDivision = TIM_CLOCKDIVISION_DIV1;
  htim10.Init.AutoReloadPreload = TIM_AUTORELOAD_PRELOAD_DISABLE;
  if (HAL_TIM_Base_Init(&htim10) != HAL_OK)
  {
    Error_Handler();
  }

}

static void MX_TIM12_Init(void)
{

  TIM_OC_InitTypeDef sConfigOC = {0};

  htim12.Instance = TIM12;
  htim12.Init.Prescaler = 42-1;
  htim12.Init.CounterMode = TIM_COUNTERMODE_UP;
  htim12.Init.Period = 1000-1;
  htim12.Init.ClockDivision = TIM_CLOCKDIVISION_DIV1;
  htim12.Init.AutoReloadPreload = TIM_AUTORELOAD_PRELOAD_DISABLE;
  if (HAL_TIM_PWM_Init(&htim12) != HAL_OK)
  {
    Error_Handler();
  }
  sConfigOC.OCMode = TIM_OCMODE_PWM1;
  sConfigOC.Pulse = 7000;
  sConfigOC.OCPolarity = TIM_OCPOLARITY_HIGH;
  sConfigOC.OCFastMode = TIM_OCFAST_DISABLE;
  if (HAL_TIM_PWM_ConfigChannel(&htim12, &sConfigOC, TIM_CHANNEL_1) != HAL_OK)
  {
    Error_Handler();
  }
  HAL_TIM_MspPostInit(&htim12);

}

static void MX_USART1_UART_Init(void)
{

  huart1.Instance = USART1;
  huart1.Init.BaudRate = 115200;
  huart1.Init.WordLength = UART_WORDLENGTH_8B;
  huart1.Init.StopBits = UART_STOPBITS_1;
  huart1.Init.Parity = UART_PARITY_NONE;
  huart1.Init.Mode = UART_MODE_TX_RX;
  huart1.Init.HwFlowCtl = UART_HWCONTROL_NONE;
  huart1.Init.OverSampling = UART_OVERSAMPLING_16;
  if (HAL_UART_Init(&huart1) != HAL_OK)
  {
    Error_Handler();
  }

}

static void MX_USART2_UART_Init(void)
{

  huart2.Instance = USART2;
  huart2.Init.BaudRate = 115200;
  huart2.Init.WordLength = UART_WORDLENGTH_8B;
  huart2.Init.StopBits = UART_STOPBITS_1;
  huart2.Init.Parity = UART_PARITY_NONE;
  huart2.Init.Mode = UART_MODE_TX_RX;
  huart2.Init.HwFlowCtl = UART_HWCONTROL_NONE;
  huart2.Init.OverSampling = UART_OVERSAMPLING_16;
  if (HAL_UART_Init(&huart2) != HAL_OK)
  {
    Error_Handler();
  }

}

static void MX_USART3_UART_Init(void)
{

  huart3.Instance = USART3;
  huart3.Init.BaudRate = 115200;
  huart3.Init.WordLength = UART_WORDLENGTH_8B;
  huart3.Init.StopBits = UART_STOPBITS_1;
  huart3.Init.Parity = UART_PARITY_NONE;
  huart3.Init.Mode = UART_MODE_TX_RX;
  huart3.Init.HwFlowCtl = UART_HWCONTROL_NONE;
  huart3.Init.OverSampling = UART_OVERSAMPLING_16;
  if (HAL_UART_Init(&huart3) != HAL_OK)
  {
    Error_Handler();
  }

}

static void MX_DMA_Init(void)
{

  /* DMA controller clock enable */
  __HAL_RCC_DMA1_CLK_ENABLE();
  __HAL_RCC_DMA2_CLK_ENABLE();

  /* DMA interrupt init */
  /* DMA1_Stream1_IRQn interrupt configuration */
  HAL_NVIC_SetPriority(DMA1_Stream1_IRQn, 0, 0);
  HAL_NVIC_EnableIRQ(DMA1_Stream1_IRQn);
  /* DMA1_Stream5_IRQn interrupt configuration */
  HAL_NVIC_SetPriority(DMA1_Stream5_IRQn, 0, 0);
  HAL_NVIC_EnableIRQ(DMA1_Stream5_IRQn);
  /* DMA2_Stream2_IRQn interrupt configuration */
  HAL_NVIC_SetPriority(DMA2_Stream2_IRQn, 0, 0);
  HAL_NVIC_EnableIRQ(DMA2_Stream2_IRQn);
  /* DMA2_Stream4_IRQn interrupt configuration */
  HAL_NVIC_SetPriority(DMA2_Stream4_IRQn, 0, 0);
  HAL_NVIC_EnableIRQ(DMA2_Stream4_IRQn);

}

static void MX_GPIO_Init(void)
{
  GPIO_InitTypeDef GPIO_InitStruct = {0};

  /* GPIO Ports Clock Enable */
  __HAL_RCC_GPIOE_CLK_ENABLE();
  __HAL_RCC_GPIOH_CLK_ENABLE();
  __HAL_RCC_GPIOA_CLK_ENABLE();
  __HAL_RCC_GPIOC_CLK_ENABLE();
  __HAL_RCC_GPIOB_CLK_ENABLE();
  __HAL_RCC_GPIOD_CLK_ENABLE();

  /*Configure GPIO pin Output Level */
  HAL_GPIO_WritePin(GPIOA, GPIO_PIN_5, GPIO_PIN_RESET);

  /*Configure GPIO pin : PA4 */
  GPIO_InitStruct.Pin = GPIO_PIN_4;
  GPIO_InitStruct.Mode = GPIO_MODE_IT_RISING;
  GPIO_InitStruct.Pull = GPIO_NOPULL;
  HAL_GPIO_Init(GPIOA, &GPIO_InitStruct);

  /*Configure GPIO pin : PA5 */
  GPIO_InitStruct.Pin = GPIO_PIN_5;
  GPIO_InitStruct.Mode = GPIO_MODE_OUTPUT_PP;
  GPIO_InitStruct.Pull = GPIO_NOPULL;
  GPIO_InitStruct.Speed = GPIO_SPEED_FREQ_LOW;
  HAL_GPIO_Init(GPIOA, &GPIO_InitStruct);

  /*Configure GPIO pin : RC_CH6_Pin */
  GPIO_InitStruct.Pin = RC_CH6_Pin;
  GPIO_InitStruct.Mode = GPIO_MODE_IT_RISING_FALLING;
  GPIO_InitStruct.Pull = GPIO_PULLDOWN;
  HAL_GPIO_Init(RC_CH6_GPIO_Port, &GPIO_InitStruct);

  /* EXTI interrupt init*/
  HAL_NVIC_SetPriority(EXTI3_IRQn, 0, 0);
  HAL_NVIC_EnableIRQ(EXTI3_IRQn);

}

/* USER CODE BEGIN 4 */

void initPWM_DATA(PWM_DATA* pwm_data, TIM_HandleTypeDef *htim, uint32_t channel){
	pwm_data->onFallingEdge = false;
	pwm_data->onRisingEdge = true;
	pwm_data->channel = channel;
	pwm_data->htim = htim;
}

void setPWM(TIM_HandleTypeDef htim, uint32_t channel, uint32_t dutyCycle){
	__HAL_TIM_SET_COMPARE(&htim, channel, dutyCycle);
}

void ESCInit(){
	HAL_TIM_PWM_Start(&htim2, TIM_CHANNEL_1);
	HAL_TIM_PWM_Start(&htim2, TIM_CHANNEL_2);
	HAL_TIM_PWM_Start(&htim2, TIM_CHANNEL_3);
	HAL_TIM_PWM_Start(&htim2, TIM_CHANNEL_4);
	HAL_TIM_PWM_Start(&htim12, TIM_CHANNEL_1);
	setPWM(htim2, TIM_CHANNEL_1, ESC_PWM_MAX);
	setPWM(htim2, TIM_CHANNEL_2, ESC_PWM_MAX);
	setPWM(htim2, TIM_CHANNEL_3, ESC_PWM_MAX);
	setPWM(htim2, TIM_CHANNEL_4, ESC_PWM_MAX);
	setPWM(htim12, TIM_CHANNEL_1, ESC_PWM_MAX);
	setPWM(htim12, TIM_CHANNEL_1, 1800);
	HAL_Delay(200);
	setPWM(htim12, TIM_CHANNEL_1, 0);
	HAL_Delay(50);
	setPWM(htim12, TIM_CHANNEL_1, 900);
	HAL_Delay(200);
	setPWM(htim12, TIM_CHANNEL_1, 800);
	HAL_Delay(200);
	setPWM(htim12, TIM_CHANNEL_1, 0);
	HAL_Delay(50);
	setPWM(htim12, TIM_CHANNEL_1, 1200);
	HAL_Delay(200);
	setPWM(htim12, TIM_CHANNEL_1, 0);
	HAL_Delay(50);
	setPWM(htim12, TIM_CHANNEL_1, 900);
	HAL_Delay(200);
	setPWM(htim12, TIM_CHANNEL_1, 800);
	HAL_Delay(200);
	setPWM(htim12, TIM_CHANNEL_1, 0);
	HAL_Delay(50);
	setPWM(htim12, TIM_CHANNEL_1, 0);
	HAL_Delay(50);
	setPWM(htim12, TIM_CHANNEL_1, 1200);
	HAL_Delay(200);
	setPWM(htim12, TIM_CHANNEL_1, 2000);
	HAL_Delay(200);
	setPWM(htim2, TIM_CHANNEL_1, ESC_PWM_MIN);
	setPWM(htim2, TIM_CHANNEL_2, ESC_PWM_MIN);
	setPWM(htim2, TIM_CHANNEL_3, ESC_PWM_MIN);
	setPWM(htim2, TIM_CHANNEL_4, ESC_PWM_MIN);
	setPWM(htim12, TIM_CHANNEL_1, 0);
	HAL_Delay(50);
	setPWM(htim12, TIM_CHANNEL_1, 900);
	HAL_Delay(200);
	setPWM(htim12, TIM_CHANNEL_1, 0);
	HAL_Delay(50);
	setPWM(htim12, TIM_CHANNEL_1, 1800);
	HAL_Delay(200);
	setPWM(htim12, TIM_CHANNEL_1, 0);
	HAL_Delay(50);
	setPWM(htim12, TIM_CHANNEL_1, 900);
	HAL_Delay(200);
	setPWM(htim12, TIM_CHANNEL_1, 800);
	HAL_Delay(200);
	setPWM(htim12, TIM_CHANNEL_1, 0);
	HAL_Delay(50);
	setPWM(htim12, TIM_CHANNEL_1, 2000);
	HAL_Delay(1000);
	setPWM(htim12, TIM_CHANNEL_1, 0);
	HAL_Delay(500);
}

void BMPInit(){
	bmp280_init_default_params(&bmp280.params);
	bmp280.addr = BMP280_I2C_ADDRESS_0;
	bmp280.i2c = &hi2c1;
	while(!bmp280_init(&bmp280, &bmp280.params)){
		strSize = sprintf((char*)buffer, "BMP280 initialization failed\r\n");
		HAL_UART_Transmit(&huart1, buffer, strSize, 1000);
		HAL_Delay(50);
	}
	HAL_TIM_PWM_Start(&htim12, TIM_CHANNEL_1);
	setPWM(htim12, TIM_CHANNEL_1, 600);
	HAL_Delay(450);
	setPWM(htim12, TIM_CHANNEL_1, 0);
	HAL_Delay(50);
	setPWM(htim12, TIM_CHANNEL_1, 900);
	HAL_Delay(450);
	setPWM(htim12, TIM_CHANNEL_1, 0);
	HAL_Delay(50);
	bme280p = bmp280.id == BME280_CHIP_ID;
	strSize = sprintf((char*)buffer, "BMP280: found %s\r\n", bme280p ? "BME280" : "BMP280");
	HAL_UART_Transmit(&huart1, buffer, strSize, 1000);

	strSize = sprintf((char*)buffer, "Calibrating.\r\n");
	HAL_UART_Transmit(&huart1, buffer, strSize, 10);

	float pres_total = 0;
	float pressure, temperature, humidity;

	for(int i = 0; i < 100; ++i){
		while(bmp280_is_measuring(&bmp280)) continue;
		bmp280_read_float(&bmp280, &temperature, &pressure, &humidity);
		HAL_UART_Transmit(&huart1, (uint8_t*)".", 1, 10);
		pres_total = pres_total + pressure;
	}

	pressureRef = pres_total / 100;
	strSize = sprintf((char*)buffer,"Done!\r\n");
	kalman_init(&kalman_altitude, 0.12, 0.12, 0.055);
	HAL_UART_Transmit(&huart1, buffer, strSize, 10);
	setPWM(htim12, TIM_CHANNEL_1, 600);
	HAL_Delay(450);
	setPWM(htim12, TIM_CHANNEL_1, 0);
	HAL_Delay(50);
	setPWM(htim12, TIM_CHANNEL_1, 900);
	HAL_Delay(450);
	setPWM(htim12, TIM_CHANNEL_1, 0);
	HAL_Delay(50);
}

void GPSInit(){
	  //__HAL_UART_ENABLE_IT(&huart3, UART_IT_IDLE);

	  if(HAL_UART_Receive_DMA(&huart3, gps_rx_buf, GPS_BUF_SIZE) != HAL_OK){
		  Error_Handler();
	  }

	  __HAL_DMA_DISABLE_IT(huart3.hdmarx, DMA_IT_HT);

	  strSize = sprintf((char*)buffer, "GPS Done!\r\n");
	  HAL_UART_Transmit(&huart1, buffer, strSize, 10);
}

void CompassInit(){
	I2Cdev_init(&hi2c3);

	HMC5883L_initialize();
	while(!HMC5883L_testConnection()){
		strSize = sprintf((char*)buffer, "Inisialisasi HMC5883L gagal!\r\n");
		HAL_UART_Transmit(&huart1, buffer, strSize, 10);
		HAL_Delay(10);
	}
	strSize = sprintf((char*)buffer, "HMC5883L Sukses!\r\n");
	HAL_UART_Transmit(&huart1, buffer, strSize, 10);
}
void initmonitorBAT(){
	HAL_ADC_Start_DMA(&hadc1, (uint32_t*)batteryData, 2);
	strSize = sprintf((char*)buffer, "Monitor Battery Sukses!\r\n");
	HAL_UART_Transmit(&huart1, buffer, strSize, 10);
}
void RemoteInit(){
	  fly_mode = FLY_MODE_OFF;
	  strSize = sprintf((char*)buffer, "Wahana Mode Off\r\n");
	  HAL_UART_Transmit(&huart1, buffer, strSize, 10);

	  initPWM_DATA(&RC_CH1, &htim3, TIM_CHANNEL_2);
	  initPWM_DATA(&RC_CH2, &htim9, TIM_CHANNEL_2);
	  initPWM_DATA(&RC_CH3, &htim5, TIM_CHANNEL_1);
	  initPWM_DATA(&RC_CH4, &htim3, TIM_CHANNEL_1);
	  initPWM_DATA(&RC_CH5, &htim4, TIM_CHANNEL_1);
	  initPWM_DATA(&RC_CH6, &htim6, 0);

	  HAL_TIM_IC_Start_IT(RC_CH1.htim, RC_CH1.channel);
	  HAL_TIM_IC_Start_IT(RC_CH2.htim, RC_CH2.channel);
	  HAL_TIM_IC_Start_IT(RC_CH3.htim, RC_CH3.channel);
	  HAL_TIM_IC_Start_IT(RC_CH4.htim, RC_CH4.channel);
	  HAL_TIM_IC_Start_IT(RC_CH5.htim, RC_CH5.channel);
	  HAL_TIM_Base_Start(RC_CH6.htim);
}

void IMUInit(){
	  HAL_UART_Transmit(&huart2, (u_char*)0xA5, 1, 10);
	  HAL_UART_Transmit(&huart2, (u_char*)0x54, 1, 10);

	  HAL_Delay(3000);
	  strSize = sprintf((char*)buffer,"Kalibrasi tilt done\r\n");
	  HAL_UART_Transmit(&huart1, buffer, strSize, 100);

	  //Kalibrasi heading
	  HAL_UART_Transmit(&huart2, (u_char*)0xA5, 1, 10);
	  HAL_UART_Transmit(&huart2, (u_char*)0x55, 1, 10);
	  HAL_Delay(3000);

	  strSize = sprintf((char*)buffer,"Kalibrasi heading done\r\n");
	  HAL_UART_Transmit(&huart1, buffer, strSize, 100);

	  //Konfigurasi Output ASCII
	  HAL_UART_Transmit(&huart2, (u_char*)0xA5, 1, 10);
	  HAL_UART_Transmit(&huart2, (u_char*)0x52, 1, 10);
	  HAL_Delay(1000);

	  HAL_UART_Receive_DMA(&huart2, IMUBuffer, 8);

	  float pitchTotal = 0, yawTotal = 0, rollTotal = 0;

	  int i = 0;
	  while(i < 100){
		  if(IMUDataStatus){
			  i += 1;
			  getIMUData(&IMU_Data);
			  pitchTotal += IMU_Data.PITCH;
			  yawTotal += IMU_Data.YAW;
			  rollTotal += IMU_Data.ROLL;
		  } else continue;
	  }
	  pitchRef = pitchTotal / 100;
	  yawRef = yawTotal / 100;
	  rollRef = rollTotal / 100;
}

void getBMPAltitude(){
	if(!bmp280_is_measuring(&bmp280)){
		  static float pressure, temperature, humidity;
		  bmp280_read_float(&bmp280, &temperature, &pressure, &humidity);
		  static float altitude_reading;
		  altitude_reading = bmp280_read_altitude(pressure/100, pressureRef/100);
		  static float estimated_altitude;
		  estimated_altitude = kalman_updateEstimate(&kalman_altitude, altitude_reading);

		  sensorAltitude.data = estimated_altitude;
		  //strSize = sprintf((char*)buffer, "%f\r\n", estimated_altitude);
		  //HAL_UART_Transmit(&huart1, buffer, strSize, 1);
	}
}
void getCompass(){
	  if(HMC5883L_getReadyStatus()){
		  HMC5883L_getHeading(&x_heading, &y_heading, &z_heading);
/*		  float baca_heading(){
			  float heading = (atan2(x_heading, y_heading));
				if (heading < 0){
					heading += 2*M_PI;
				}
				if (heading > 2*M_PI){
					heading -= 2*M_PI;
				}
				float headingDegrees = heading * 180 / M_PI;	//konversi dari data radian menjadi degree
				if (headingDegrees < 0) headingDegrees += 360;
				else if (headingDegrees > 360) headingDegrees -= 360;
				return headingDegrees;
		  }
		  data_heading.data = baca_heading();*/
		  //strSize = sprintf((char*)buffer, "X: %d\tY: %d\tZ: %d\r\n", x, y, z);
		  //HAL_UART_Transmit(&huart1, buffer, strSize, 100);
	  }
}

void getGPSLatLon(){
	  if(GPSDataStatus){
		  char *pointer;
		  int length = sizeof(GPSBuffer);

		  memset(lat, '\0', 20);
		  memset(lon, '\0', 20);
		  pointer = strchr((char*)GPSBuffer, '$');

		  do{
			  char *ptrstart;
			  char *ptrend;

			  if(strncmp(pointer, "$GNGGA" , 6) == 0){ //$GNGGA
				  ptrstart = (char*)memchr(pointer + 1, ',', length);
				  ptrstart = (char*)memchr(ptrstart + 1, ',', length);
				  ptrend = (char*)memchr(ptrstart + 1, ',', length);

			  } else if(strncmp(pointer, "$GNGLL", 6) == 0){ //$GNGLL
				  ptrstart = (char*)memchr(pointer + 1, ',', length);
				  ptrend = (char*)memchr(ptrstart + 1, ',', length);

			  } else if(strncmp(pointer, "$GNRMC", 6) == 0){ //$GNRMC
				  ptrstart = (char*)memchr(pointer + 1, ',', length);
				  ptrstart = (char*)memchr(ptrstart + 1, ',', length);
				  ptrstart = (char*)memchr(ptrstart + 1, ',', length);
				  ptrend = (char*)memchr(ptrstart + 1, ',', length);

			  } else {
				  pointer = strchr(pointer + 6, '$');
				  continue;
			  }

			  for(int i = 1; i < (ptrend - ptrstart); i++) lat[i - 1] = ptrstart[i];
			  lat_a = *(ptrend + 1);

			  ptrstart = (char*)memchr(ptrend + 1, ',', length);
			  ptrend = (char*)memchr(ptrstart + 1, ',', length);

			  for(int i = 1; i < (ptrend - ptrstart); i++) lon[i - 1] = ptrstart[i];
			  lon_a = *(ptrend + 1);
			  if(lon[0] != '\0' && lat[0] != '\0'){
				  static char str_lat_depan[2];
				  memcpy(str_lat_depan, lat, 2);
				  lat_depan = (char)atoi(str_lat_depan);
				  if(lat_a == 'S') lat_depan *= -1;

				  static  char str_lat_belakang[6];
				  memcpy(str_lat_belakang, lat + 2, 6);
				  lat_belakang.data = atoff(str_lat_belakang);

				  static char str_lon_depan[3];
				  memcpy(str_lon_depan, lon, 3);
				  lon_depan.data = atoi(str_lon_depan);
				  if(lon_a == 'W') lon_depan.data *= -1;

				  static char str_lon_belakang[6];
				  memcpy(str_lon_belakang, lon + 3, 6);
				  lon_belakang.data = atoff(str_lon_belakang);
				  //data biasa
				  //strSize = sprintf((char*)buffer, "Lat: %s | %c\tLon: %s | %c\r\n", lat, lat_a, lon, lon_a);
				  //HAL_UART_Transmit(&huart1, buffer , strSize, 100);
				  break;
			  }
			  pointer = strchr(pointer + 4, '$');
		  }
		  while(pointer != NULL);
		  GPSDataStatus = false;
	  }
}

void getIMUData(IMU_DATA *IMU_Data){
	if(IMUDataStatus){
		  uint8_t YPR[8];
		  IMU_Data->YAW = 1000.0f, IMU_Data->PITCH = 1000.0f, IMU_Data->ROLL = 1000.0f;
		  char* buf;
		  buf = memchr(IMUBuffer, 0xAA, 8);
		  memcpy(YPR, buf, 8);
		  if(YPR[0] == 0xAA && YPR[7] == 0x55){
			  IMU_Data->YAW = (float)((YPR[1] << 8 | YPR[2]) * 0.01f);
			  if(IMU_Data->YAW > 179) IMU_Data->YAW = IMU_Data->YAW - 655;

			  sensorYaw.data = IMU_Data->YAW - yawRef;

			  IMU_Data->PITCH = (float)((YPR[3] << 8 | YPR[4]) * 0.01f);
			  if(IMU_Data->PITCH > 179) IMU_Data->PITCH = IMU_Data->PITCH - 655;

			  sensorPitch.data = IMU_Data->PITCH - pitchRef;

			  IMU_Data->ROLL = (float)((YPR[5] << 8 | YPR[6]) * 0.01f);
			  if(IMU_Data->ROLL > 179) IMU_Data->ROLL = IMU_Data->ROLL - 655;

			  sensorRoll.data = IMU_Data->ROLL - rollRef;
		  }
		  IMUDataStatus = false;
	}

}

void setPWM_DATA(PWM_DATA* pwm_data){
	if(pwm_data->onRisingEdge && !pwm_data->onFallingEdge){
		pwm_data->onRisingEdge = false;
		pwm_data->onFallingEdge = true;
		pwm_data->RisingEdgeVal = HAL_TIM_ReadCapturedValue(pwm_data->htim, pwm_data->channel);
		__HAL_TIM_SET_CAPTUREPOLARITY(pwm_data->htim, pwm_data->channel, TIM_INPUTCHANNELPOLARITY_FALLING);

	} else if(pwm_data->onFallingEdge && !pwm_data->onRisingEdge) {
		pwm_data->onFallingEdge = false;
		pwm_data->onRisingEdge =  true;
		pwm_data->FallingEdgeVal = HAL_TIM_ReadCapturedValue(pwm_data->htim, pwm_data->channel);
		__HAL_TIM_SET_CAPTUREPOLARITY(pwm_data->htim, pwm_data->channel, TIM_INPUTCHANNELPOLARITY_RISING);
	}
	if(pwm_data->FallingEdgeVal >= pwm_data->RisingEdgeVal){
		pwm_data->DutyCycleVal = pwm_data->FallingEdgeVal - pwm_data->RisingEdgeVal;
		pwm_data->FallingEdgeVal = 0;
		pwm_data->RisingEdgeVal = 0;
	}
}

void HAL_UART_RxCpltCallback(UART_HandleTypeDef *huart)
{
  if(huart->Instance == USART2 && !IMUDataStatus)
	  IMUDataStatus = true;

  if(huart->Instance == USART3){
	  memcpy(GPSBuffer, gps_rx_buf, GPS_BUF_SIZE);
	  GPSDataStatus = true;
  }

  if(huart->Instance == USART1){
	  //#pp=0.0234
	  if(SerialData[0] == '#'){
		  float input_k = strtof((char*)&SerialData[4], 0);

		  if(SerialData[1] == 'p'){
			if(SerialData[2] == 'p'){
				PIDPitch.kp = input_k;
			} else if(SerialData[2] == 'i'){
				PIDPitch.ki = input_k;
			} else if(SerialData[2] == 'd'){
				PIDPitch.kd = input_k;
			}
			  strSize = sprintf((char*)buffer, "PIDPitch: kp = %f\tki = %f\tkd = %f\r\n", PIDPitch.kp, PIDPitch.ki, PIDPitch.kd);
		  } else if(SerialData[1] == 'y'){
				if(SerialData[2] == 'p'){
					PIDYaw.kp = input_k;
				} else if(SerialData[2] == 'i'){
					PIDYaw.ki = input_k;
				} else if(SerialData[2] == 'd'){
					PIDYaw.kd = input_k;
				}
			  strSize = sprintf((char*)buffer, "PIDYaw: kp = %f\tki = %f\tkd = %f\r\n", PIDYaw.kp, PIDYaw.ki, PIDYaw.kd);
		  } else if(SerialData[1] == 'r'){
				if(SerialData[2] == 'p'){
					PIDRoll.kp = input_k;
				} else if(SerialData[2] == 'i'){
					PIDRoll.ki = input_k;
				} else if(SerialData[2] == 'd'){
					PIDRoll.kd = input_k;
				}
			  strSize = sprintf((char*)buffer, "PIDRoll: kp = %f\tki = %f\tkd = %f\r\n", PIDRoll.kp, PIDRoll.ki, PIDRoll.kd);
		  }
		  __HAL_TIM_SET_COUNTER(&htim10, 0);
		  __HAL_TIM_SET_AUTORELOAD(&htim10, 3000);
		  HAL_UART_Transmit(&huart1, buffer, strSize, 100);
	  } else {
		  HAL_UART_DMAStop(&huart1);
		  HAL_UART_Receive_DMA(&huart1, SerialData, 10);
	  }

  }

 }

void HAL_TIM_IC_CaptureCallback(TIM_HandleTypeDef *htim){
	if(htim == RC_CH1.htim){
		if(htim->Channel == HAL_TIM_ACTIVE_CHANNEL_2){
			setPWM_DATA(&RC_CH1);
			inputRoll = map((float)RC_CH1.DutyCycleVal, 1000, 2000, -30, 30);
			inputRoll = constrain(inputRoll, -30, 30);
		} else if(htim->Channel == HAL_TIM_ACTIVE_CHANNEL_1){
			setPWM_DATA(&RC_CH4);
			inputYaw = map((float)RC_CH4.DutyCycleVal, 1000, 2000, -30, 30);
			inputYaw = constrain(inputYaw, -30, 30);
		}
	}
	else if(htim == RC_CH2.htim){
		setPWM_DATA(&RC_CH2);
		inputPitch = map((float)RC_CH2.DutyCycleVal, 1000, 2000, -30, 30);
		inputPitch = constrain(inputPitch, -30, 30);
	}
	else if(htim == RC_CH3.htim) {
		setPWM_DATA(&RC_CH3);
		if(RC_CH3.DutyCycleVal >= 1050){
			inputThrottle = constrain(RC_CH3.DutyCycleVal, 1000, 2000);
		} else {
			RC_CH3.DutyCycleVal = 1000;
			inputThrottle = 1000;
		}
	}
	else if(htim == RC_CH5.htim) {
		setPWM_DATA(&RC_CH5);
		inputFlyMode = constrain(RC_CH5.DutyCycleVal, 1000, 2000);
	}
}

void HAL_TIM_PeriodElapsedCallback(TIM_HandleTypeDef *htim){
	if(htim->Instance == TIM7 && (fly_mode == FLY_MODE_ON || fly_mode == FLY_MODE_HOLD)){
		if(fly_mode == FLY_MODE_ON){
			PIDRoll.timesampling = PIDYaw.timesampling = PIDPitch.timesampling = 0.01;
			PIDControl(&PIDRoll, sensorRoll.data, inputRoll);
			PIDControl(&PIDPitch, sensorPitch.data, inputPitch);
			PIDControl(&PIDYaw, sensorYaw.data, inputYaw);
			trustControl(fly_mode);
		} else if(fly_mode == FLY_MODE_HOLD){
			PIDRoll.timesampling = PIDYaw.timesampling = PIDPitch.timesampling = PIDAltitude.timesampling =  0.01;
			PIDControl(&PIDRoll, sensorRoll.data, inputRoll);
			PIDControl(&PIDPitch, sensorPitch.data, inputPitch);
			PIDControl(&PIDYaw, sensorYaw.data, 0.0);
			PIDControlAltitude(&PIDAltitude, sensorAltitude.data, inputAltitude);
			trustControl(fly_mode);
		}

	}else if(htim->Instance == TIM10){
		if(__HAL_TIM_GET_AUTORELOAD(&htim10) == 3000) __HAL_TIM_SET_AUTORELOAD(&htim10, 15);
		strSize = sprintf((char*)buffer, "%f %f\r\n", sensorPitch.data, sensorRoll.data);
		HAL_UART_Transmit(&huart1, buffer, strSize, 10);

		//pengiriman data GUI
		/*strSize = sprintf((char*)buffer, "N%s,%s,%s,%s,%c%s,%s%s#", sensorYaw.data_byte, sensorPitch.data_byte, sensorRoll.data_byte, sensorAltitude.data_byte, lat_depan, lat_belakang.data_byte, lon_depan.data_byte, lon_belakang.data_byte);
		HAL_UART_Transmit(&huart1, buffer, strSize, 50);
		strSize = sprintf((char*)buffer, "B%s,%s#", baterai_v.data_byte, baterai_i.data_byte);
		HAL_UART_Transmit(&huart1, buffer, strSize, 10);
		strSize = sprintf((char*)buffer, "%f\r\n", sensorAltitude.data);
		HAL_UART_Transmit(&huart1, buffer, strSize, 10);*/
	}
}

void HAL_GPIO_EXTI_Callback(uint16_t GPIO_Pin){
	if(RC_CH6.onRisingEdge && !RC_CH6.onFallingEdge){
		RC_CH6.onRisingEdge = false;
		RC_CH6.onFallingEdge = true;
		RC_CH6.RisingEdgeVal = __HAL_TIM_GET_COUNTER(RC_CH6.htim);

	} else if(RC_CH6.onFallingEdge && !RC_CH6.onRisingEdge) {
		RC_CH6.onFallingEdge = false;
		RC_CH6.onRisingEdge =  true;
		RC_CH6.FallingEdgeVal = __HAL_TIM_GET_COUNTER(RC_CH6.htim);
	}
	if(RC_CH6.FallingEdgeVal >= RC_CH6.RisingEdgeVal){
		RC_CH6.DutyCycleVal = RC_CH6.FallingEdgeVal - RC_CH6.RisingEdgeVal;
		RC_CH6.FallingEdgeVal = 0;
		RC_CH6.RisingEdgeVal = 0;
	}
}
void HAL_ADC_ConvCpltCallback(ADC_HandleTypeDef *hadc){
	if(hadc->Instance == ADC1){
		baterai_i.data = ((((float)batteryData[0] / 4096) * 5) - 2500)/100;
		baterai_v.data = ((float)batteryData[1] / 4096)* 3.04985 * 0.00433641;
	}
}
/* USER CODE END 4 */

void Error_Handler(void)
{
}

/************************ (C) COPYRIGHT STMicroelectronics *****END OF FILE****/
